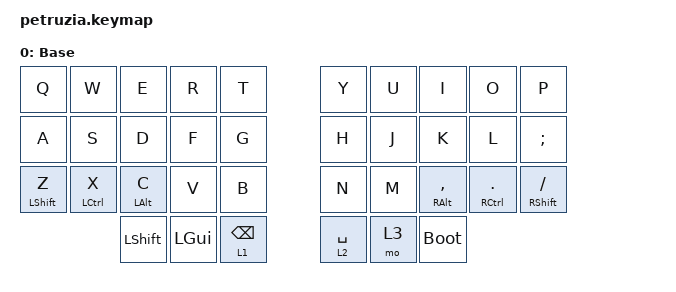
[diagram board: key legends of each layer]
/*
 * Copyright (c) 2023 The ZMK Contributors
 *
 * SPDX-License-Identifier: MIT
 */

#include <behaviors.dtsi>
#include <dt-bindings/zmk/bt.h>
#include <dt-bindings/zmk/keys.h>
#include <dt-bindings/zmk/rgb.h>


/ {
    keymap {
        compatible = "zmk,keymap";

        base {
            display-name = "Base";
            bindings = <
&kp Q       &kp W       &kp E      &kp R &kp T    &kp Y      &kp U       &kp I          &kp O         &kp P
&kp A       &kp S       &kp D      &kp F &kp G    &kp H      &kp J       &kp K          &kp L         &kp SEMI
&mt LSHFT Z &mt LCTRL X &mt LALT C &kp V &kp B    &kp N      &kp M       &mt RALT COMMA &mt RCTRL DOT &mt RSHFT SLASH
                        &kp LSHFT           &kp LGUI       &lt 1 BSPC &lt 2 SPACE &mo 3 &bootloader
            >;
        };
    };
};
